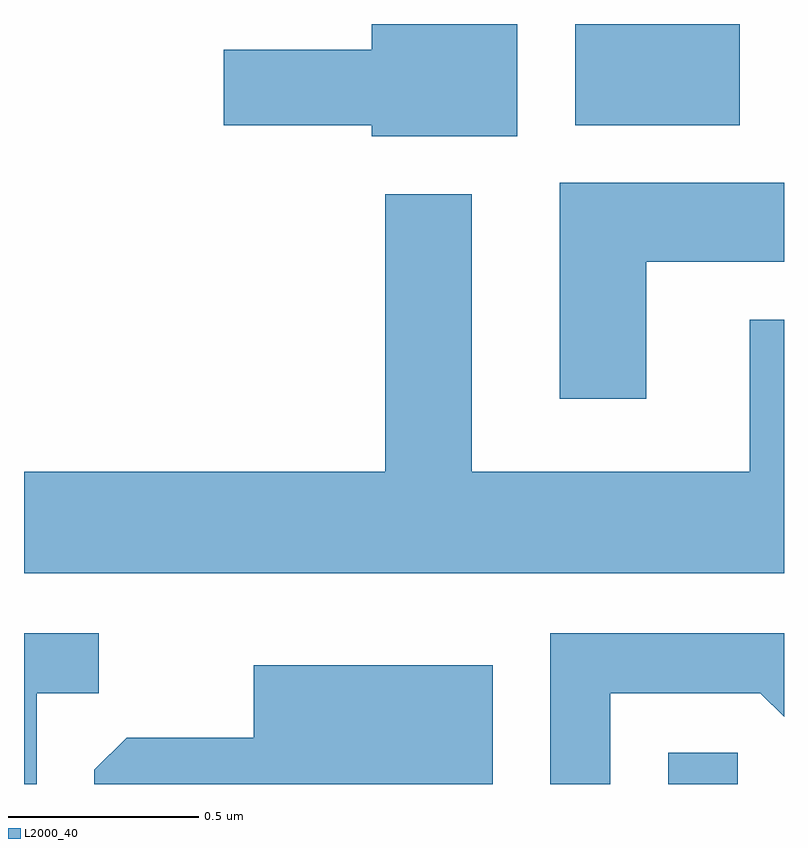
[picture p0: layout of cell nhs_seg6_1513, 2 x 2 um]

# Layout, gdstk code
import gdstk
lib = gdstk.Library(unit=1e-6, precision=1e-09)
def R(c, l, rs):  # rectangles x0, y0, x1, y1
    for r in rs: c.add(gdstk.rectangle(r[:2], r[2:], *l))
def P(c, l, *ps):  # polygons
    for p in ps: c.add(gdstk.Polygon(p, *l))
L2000_40 = (2000, 40)

nhs_seg6_1513 = lib.new_cell('nhs_seg6_1513')
R(nhs_seg6_1513, L2000_40, [(198.306,1536.162,198.489,1536.244), (198.061,1537.896,198.494,1538.162)])
P(nhs_seg6_1513, L2000_40, [(197.909,1538.162),(197.526,1538.162),(197.526,1538.094),(197.136,1538.094),(197.136,1537.896),(197.526,1537.896),(197.526,1537.866),(197.909,1537.866)],
  [(198.249,1537.536),(198.611,1537.536),(198.611,1537.744),(198.021,1537.744),(198.021,1537.176),(198.249,1537.176)],
  [(198.611,1537.384),(198.521,1537.384),(198.521,1536.984),(197.789,1536.984),(197.789,1537.714),(197.561,1537.714),(197.561,1536.984),(196.611,1536.984),(196.611,1536.716),(198.611,1536.716)],
  [(198.154,1536.401),(198.549,1536.401),(198.611,1536.339),(198.611,1536.559),(197.996,1536.559),(197.996,1536.162),(198.154,1536.162)],
  [(196.644,1536.401),(196.808,1536.401),(196.808,1536.559),(196.611,1536.559),(196.611,1536.162),(196.644,1536.162)],
  [(197.844,1536.474),(197.216,1536.474),(197.216,1536.284),(196.882,1536.284),(196.796,1536.199),(196.796,1536.162),(197.844,1536.162)])

lib.write_gds('nhs_seg6_1513.gds')
